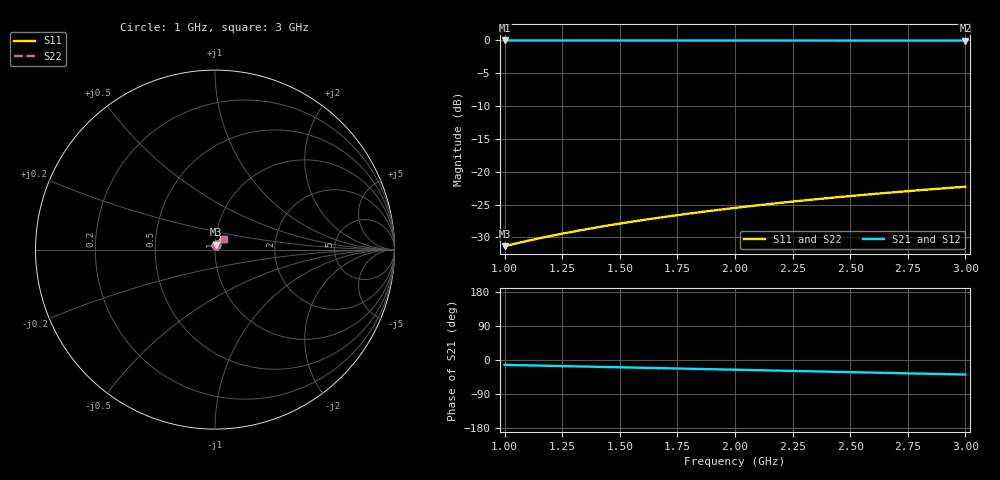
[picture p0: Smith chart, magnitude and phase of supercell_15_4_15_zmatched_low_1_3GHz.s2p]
! Touchstone file exported from HFSS 2026.1.0
!  Generated:  01:55:38 PM Aug 24, 2026
!  Design:  HFSSDesign_Supercell_15_4_15_stub_length
!  Project:  15-4-15_super_cell_cascade_validation
!  Setup:  Setup1
!  Solution:  Sweep_15_4_15_low
! Variables:
!  stub_length = 8.34um
# GHz S MA R 50.000000
! Terminal data exported
! Port[1] = Port1
! Port[2] = Port2
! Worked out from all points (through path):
!   111 points, 1 GHz to 3 GHz, reference 50 ohm
!   highest |S21| = 0.00 dB at 1 GHz (marker M1); lowest = 0.0 dB at 3 GHz (marker M2)
!   group delay of S21, straight-line fit = 35.5 ps
!   lowest |S11| = -31.3 dB at 1 GHz (marker M3), VSWR 1.06, Z = 50.4 + j2.7 ohm
!   |S11| at or under -10 dB: start of sweep to end of sweep
!   |S22| runs from -31.3 to -22.3 dB; largest |S21 - S12| = 5.7e-09
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1  0.02709 80.9  0.9996 -12.8  0.9996 -12.8  0.02709 73.5
! Gamma 6.85364685894651E-31 877.515336255417 3.25580123066977E-32 878.360833403353
! Port Impedance 50 0 50 0
1.072727  0.02902 79.7  0.9996 -13.8  0.9996 -13.8  0.02902 72.8
1.109091  0.02998 79.1  0.9996 -14.2  0.9996 -14.2  0.02998 72.5
1.163636  0.03142 78.2  0.9995 -14.9  0.9995 -14.9  0.03142 71.9
1.254545  0.03382 76.8  0.9994 -16.1  0.9994 -16.1  0.03382 71.0
1.345455  0.03621 75.4  0.9993 -17.3  0.9993 -17.3  0.03621 70.1
1.418182  0.03811 74.3  0.9993 -18.2  0.9993 -18.2  0.03811 69.3
1.509091  0.04047 72.9  0.9992 -19.3  0.9992 -19.3  0.04047 68.4
1.581818  0.04235 71.9  0.9991 -20.3  0.9991 -20.3  0.04235 67.6
1.672727  0.0447 70.6  0.999 -21.4  0.999 -21.4  0.0447 66.6
1.745455  0.04656 69.5  0.9989 -22.4  0.9989 -22.4  0.04656 65.7
1.836364  0.04887 68.2  0.9988 -23.5  0.9988 -23.5  0.04887 64.7
1.909091  0.05071 67.2  0.9987 -24.5  0.9987 -24.5  0.05071 63.9
2  0.053 65.9  0.9986 -25.6  0.9986 -25.6  0.053 62.8
2.072727  0.05481 64.9  0.9985 -26.6  0.9985 -26.6  0.05481 62.0
2.163636  0.05707 63.6  0.9984 -27.7  0.9984 -27.7  0.05707 60.9
2.254545  0.0593 62.4  0.9982 -28.9  0.9982 -28.9  0.0593 59.8
2.345455  0.06152 61.1  0.9981 -30.1  0.9981 -30.1  0.06152 58.8
2.509091  0.06546 58.9  0.9979 -32.1  0.9979 -32.1  0.06546 56.8
2.672727  0.06933 56.7  0.9976 -34.2  0.9976 -34.2  0.06933 54.9
2.836364  0.07313 54.5  0.9973 -36.3  0.9973 -36.3  0.07313 52.9
3  0.07685 52.3  0.997 -38.4  0.997 -38.4  0.07685 50.9
